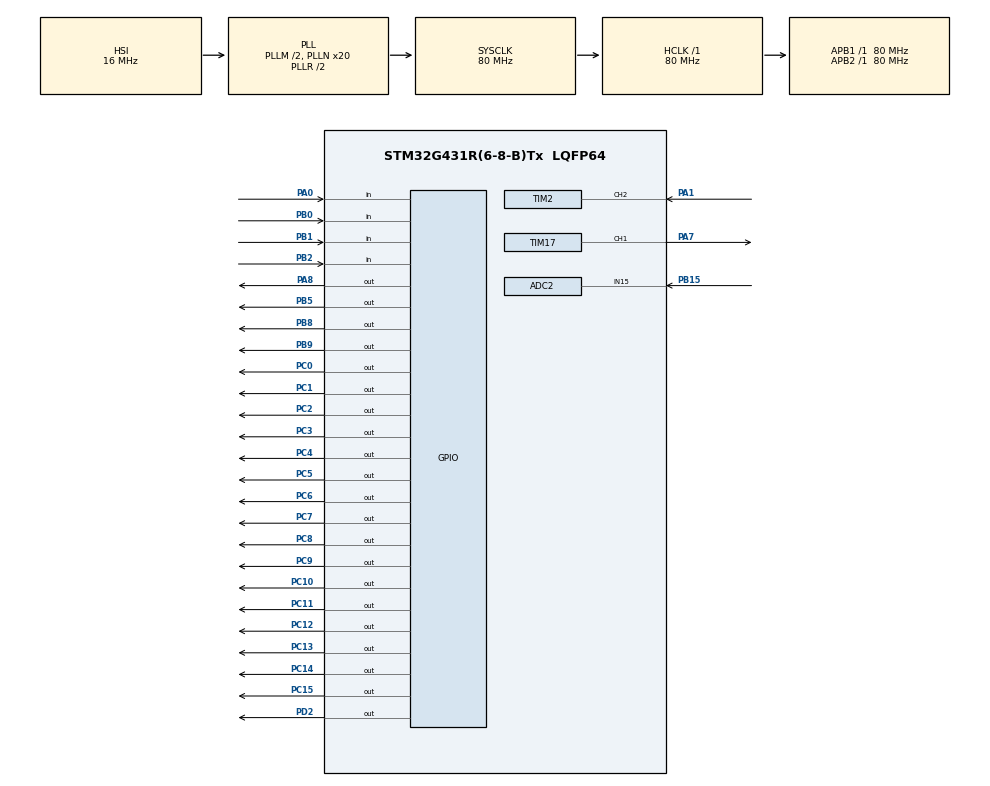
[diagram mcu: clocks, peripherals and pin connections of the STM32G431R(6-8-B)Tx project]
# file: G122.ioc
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ADC2.Channel-0\#ChannelRegularConversion=ADC_CHANNEL_15
ADC2.NbrOfConversionFlag=1
ADC2.OffsetNumber-0\#ChannelRegularConversion=ADC_OFFSET_NONE
ADC2.Rank-0\#ChannelRegularConversion=1
ADC2.SamplingTime-0\#ChannelRegularConversion=ADC_SAMPLETIME_640CYCLES_5
Mcu.Family=STM32G4
Mcu.Name=STM32G431R(6-8-B)Tx
Mcu.Package=LQFP64
NVIC.PriorityGroup=NVIC_PRIORITYGROUP_4
NVIC.TIM2_IRQn=true\:0\:0\:false\:false\:true\:true\:true\:true
PA0.Signal=GPIO_Input
PA1.Signal=S_TIM2_CH2
PA7.Signal=S_TIM17_CH1
PA8.Signal=GPIO_Output
PB0.Signal=GPIO_Input
PB1.Signal=GPIO_Input
PB15.Mode=IN15-Single-Ended
PB15.Signal=ADC2_IN15
PB2.Signal=GPIO_Input
PB5.Signal=GPIO_Output
PB8-BOOT0.Signal=GPIO_Output
PB9.Signal=GPIO_Output
PC0.Signal=GPIO_Output
PC1.Signal=GPIO_Output
PC10.Signal=GPIO_Output
PC11.Signal=GPIO_Output
PC12.Signal=GPIO_Output
PC13.Signal=GPIO_Output
PC14-OSC32_IN.Signal=GPIO_Output
PC15-OSC32_OUT.Signal=GPIO_Output
PC2.Signal=GPIO_Output
PC3.Signal=GPIO_Output
PC4.Signal=GPIO_Output
PC5.Signal=GPIO_Output
PC6.Signal=GPIO_Output
PC7.Signal=GPIO_Output
PC8.Signal=GPIO_Output
PC9.Signal=GPIO_Output
PD2.Signal=GPIO_Output
PF0-OSC_IN.Mode=HSE-External-Oscillator
PF0-OSC_IN.Signal=RCC_OSC_IN
PF1-OSC_OUT.Mode=HSE-External-Oscillator
PF1-OSC_OUT.Signal=RCC_OSC_OUT
ProjectManager.HeapSize=0x200
ProjectManager.StackSize=0x400
ProjectManager.TargetToolchain=MDK-ARM V5
RCC.ADC12Freq_Value=80000000
RCC.AHBFreq_Value=80000000
RCC.APB1Freq_Value=80000000
RCC.APB1TimFreq_Value=80000000
RCC.APB2Freq_Value=80000000
RCC.APB2TimFreq_Value=80000000
RCC.CortexFreq_Value=80000000
RCC.EXTERNAL_CLOCK_VALUE=12288000
RCC.HCLKFreq_Value=80000000
RCC.HSE_VALUE=24000000
RCC.HSI48_VALUE=48000000
RCC.HSI_VALUE=16000000
RCC.LSE_VALUE=32768
RCC.PLLM=RCC_PLLM_DIV2
RCC.PLLN=20
RCC.SYSCLKFreq_VALUE=80000000
RCC.SYSCLKSource=RCC_SYSCLKSOURCE_PLLCLK
RCC.USBFreq_Value=80000000
RCC.VCOOutputFreq_Value=160000000
SH.S_TIM17_CH1.0=TIM17_CH1,PWM Generation1 CH1
SH.S_TIM2_CH2.0=TIM2_CH2,Input_Capture2_from_TI2
TIM17.Channel=TIM_CHANNEL_1
TIM17.PeriodNoDither=999
TIM17.Prescaler=79
TIM17.PulseNoDither_1=250
TIM2.Channel-Input_Capture2_from_TI2=TIM_CHANNEL_2
TIM2.PeriodNoDither=0xffffffff
TIM2.Prescaler=79
VP_SYS_VS_DBSignals.Mode=DisableDeadBatterySignals
VP_TIM17_VS_ClockSourceINT.Mode=Enable_Timer
board=custom

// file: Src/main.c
/* USER CODE BEGIN Header */
/**
  ******************************************************************************
  * @file           : main.c
  * @brief          : Main program body
  ******************************************************************************
  * @attention
  *
  * <h2><center>&copy; Copyright (c) 2021 STMicroelectronics.
  * All rights reserved.</center></h2>
  *
  * This software component is licensed by ST under BSD 3-Clause license,
  * the "License"; You may not use this file except in compliance with the
  * License. You may obtain a copy of the License at:
  *                        opensource.org/licenses/BSD-3-Clause
  *
  ******************************************************************************
  */
/* USER CODE END Header */

#include "main.h"
#include "adc.h"
#include "tim.h"
#include "gpio.h"

/* USER CODE BEGIN Includes */
#include "led.h"
#include "key.h"
#include "stdio.h"

/* USER CODE END Includes */

void SystemClock_Config(void);

/* USER CODE BEGIN 0 */
#define Display_Data 0
#define Display_Para 1

u8 Display_Mode = 0;

//1

//2
u8 R = 4;

//led
_Bool led_flag = 1; //0 ���ã� 1����

//KEY
uint32_t keyTick = 0;
void Key_Process(void)
{
	if(uwTick - keyTick < 20) return;
	keyTick = uwTick;

	Key_Read();

	if(Trg & 0x01)
	{
		LCD_Clear(Black);
		Display_Mode = (Display_Mode + 1) % 2;
	}

	if(Trg & 0x02)
	{
		if(Display_Mode == Display_Para)
		{
			R+=2;
			if(R == 12)
				R = 10;
		}
	}

	if(Trg & 0x04)
	{
		if(Display_Mode == Display_Para)
		{

				R-=2;
			if(R == 0)
				R = 2;
		}
	}

	if(Trg & 0x08)
	{
		led_flag = !led_flag;
	}

}

//ADC

u32 adc_val;
double r37_v;

void ADC_Process(void)
{
	HAL_ADC_Start(&hadc2);
	adc_val = HAL_ADC_GetValue(&hadc2);
	r37_v = adc_val /4095.0*3.3;
}

//PA1
u32 tim_cnt;
double PA1_F;
void HAL_TIM_IC_CaptureCallback(TIM_HandleTypeDef *htim)
{
	if(htim == &htim2)
	{
		HAL_TIM_IC_Start_IT(&htim2,TIM_CHANNEL_2);

		tim_cnt = __HAL_TIM_GetCounter(&htim2);

		PA1_F = 1e6/tim_cnt;

		__HAL_TIM_SetCounter(&htim2,0);
	}

}

//PWM

void PWM_Process(void)
{

	TIM17->ARR = (1e6/(PA1_F/R) - 1);

	TIM17->CCR1 = (TIM17->ARR + 1) * (r37_v / 3.3);

}

//LED
u8 led_ctrl = 0x00;

void Led_Process(void)
{
	if(led_flag == 1)
	{
		if(Display_Mode == Display_Data)
			led_ctrl |= 0x01;
		else
			led_ctrl &= ~0x01;

		if(Display_Mode == Display_Para)
			led_ctrl |= 0x02;
		else
			led_ctrl &= ~0x02;

		if(r37_v >= 1.0 && r37_v < 3)
			led_ctrl |= 0x04;
		else
			led_ctrl &= ~0x04;

		if(PA1_F >= 1000 && PA1_F < 5000)
			led_ctrl |= 0x08;
		else
			led_ctrl &=~0x08;
	}
	else
		led_ctrl = 0x00;

	Led_Control(led_ctrl);

}

//LCD
uint32_t lcdTick = 0;
void LCD_Process(void)
{
	if(uwTick - lcdTick < 100) return;
	lcdTick = uwTick;

	u8 display_buf[30];

	if(Display_Mode == Display_Data)
	{
		sprintf((char *)display_buf,"       Data ");
		LCD_DisplayStringLine(Line1,display_buf);

		sprintf((char *)display_buf,"   FRQ:%.0fHZ   ",PA1_F);
		LCD_DisplayStringLine(Line3,display_buf);

		sprintf((char *)display_buf,"   R37:%4.2fV",r37_v);
		LCD_DisplayStringLine(Line5,display_buf);
	}

	if(Display_Mode == Display_Para)
	{
		sprintf((char *)display_buf,"       Para ");
		LCD_DisplayStringLine(Line1,display_buf);

		sprintf((char *)display_buf,"      R:%d ",R);
		LCD_DisplayStringLine(Line3,display_buf);

	}

}

/* USER CODE END 0 */

int main(void)
{

  /* MCU Configuration--------------------------------------------------------*/

  /* Reset of all peripherals, Initializes the Flash interface and the Systick. */
  HAL_Init();

  /* Configure the system clock */
  SystemClock_Config();

  /* Initialize all configured peripherals */
  MX_GPIO_Init();
  MX_ADC2_Init();
  MX_TIM2_Init();
  MX_TIM17_Init();
  /* USER CODE BEGIN 2 */

    LCD_Init();

		//PWM_IC
		HAL_TIM_IC_Start_IT(&htim2,TIM_CHANNEL_2);

		//PWM
		HAL_TIM_PWM_Start(&htim17,TIM_CHANNEL_1);

  /* USER CODE END 2 */

  /* Infinite loop */
  /* USER CODE BEGIN WHILE */

    LCD_Clear(Black);
    LCD_SetBackColor(Black);
    LCD_SetTextColor(White);

//    LCD_DrawLine(120, 0, 320, Horizontal);
//    LCD_DrawLine(0, 160, 240, Vertical);
//    HAL_Delay(1000);
//    LCD_Clear(Blue);

//    LCD_DrawRect(70, 210, 100, 100);
//    HAL_Delay(1000);
//    LCD_Clear(Blue);

//    LCD_DrawCircle(120, 160, 50);
//    HAL_Delay(1000);

//    LCD_Clear(Blue);
//    LCD_DisplayStringLine(Line4, (unsigned char *)"    Hello,world.   ");
//    HAL_Delay(1000);

//    LCD_SetBackColor(White);
//    LCD_DisplayStringLine(Line0, (unsigned char *)"                    ");
//    LCD_SetBackColor(Black);
//    LCD_DisplayStringLine(Line1, (unsigned char *)"                    ");
//    LCD_SetBackColor(Grey);
//    LCD_DisplayStringLine(Line2, (unsigned char *)"                    ");
//    LCD_SetBackColor(Blue);
//    LCD_DisplayStringLine(Line3, (unsigned char *)"                    ");
//    LCD_SetBackColor(Blue2);
//    LCD_DisplayStringLine(Line4, (unsigned char *)"                    ");
//    LCD_SetBackColor(Red);
//    LCD_DisplayStringLine(Line5, (unsigned char *)"                    ");
//    LCD_SetBackColor(Magenta);
//    LCD_DisplayStringLine(Line6, (unsigned char *)"                    ");
//    LCD_SetBackColor(Green);
//    LCD_DisplayStringLine(Line7, (unsigned char *)"                    ");
//    LCD_SetBackColor(Cyan);
//    LCD_DisplayStringLine(Line8, (unsigned char *)"                    ");
//    LCD_SetBackColor(Yellow);
//    LCD_DisplayStringLine(Line9, (unsigned char *)"                    ");

		Led_Control(0x00);
    while (1)
    {
    /* USER CODE END WHILE */

    /* USER CODE BEGIN 3 */
			Key_Process();
			ADC_Process();
			PWM_Process();
			LCD_Process();
			Led_Process();
    }
  /* USER CODE END 3 */
}

void SystemClock_Config(void)
{
  RCC_OscInitTypeDef RCC_OscInitStruct = {0};
  RCC_ClkInitTypeDef RCC_ClkInitStruct = {0};
  RCC_PeriphCLKInitTypeDef PeriphClkInit = {0};

  /** Configure the main internal regulator output voltage
  */
  HAL_PWREx_ControlVoltageScaling(PWR_REGULATOR_VOLTAGE_SCALE1);
  /** Initializes the CPU, AHB and APB busses clocks
  */
  RCC_OscInitStruct.OscillatorType = RCC_OSCILLATORTYPE_HSI;
  RCC_OscInitStruct.HSIState = RCC_HSI_ON;
  RCC_OscInitStruct.HSICalibrationValue = RCC_HSICALIBRATION_DEFAULT;
  RCC_OscInitStruct.PLL.PLLState = RCC_PLL_ON;
  RCC_OscInitStruct.PLL.PLLSource = RCC_PLLSOURCE_HSI;
  RCC_OscInitStruct.PLL.PLLM = RCC_PLLM_DIV2;
  RCC_OscInitStruct.PLL.PLLN = 20;
  RCC_OscInitStruct.PLL.PLLP = RCC_PLLP_DIV2;
  RCC_OscInitStruct.PLL.PLLQ = RCC_PLLQ_DIV2;
  RCC_OscInitStruct.PLL.PLLR = RCC_PLLR_DIV2;
  if (HAL_RCC_OscConfig(&RCC_OscInitStruct) != HAL_OK)
  {
    Error_Handler();
  }
  /** Initializes the CPU, AHB and APB busses clocks
  */
  RCC_ClkInitStruct.ClockType = RCC_CLOCKTYPE_HCLK|RCC_CLOCKTYPE_SYSCLK
                              |RCC_CLOCKTYPE_PCLK1|RCC_CLOCKTYPE_PCLK2;
  RCC_ClkInitStruct.SYSCLKSource = RCC_SYSCLKSOURCE_PLLCLK;
  RCC_ClkInitStruct.AHBCLKDivider = RCC_SYSCLK_DIV1;
  RCC_ClkInitStruct.APB1CLKDivider = RCC_HCLK_DIV1;
  RCC_ClkInitStruct.APB2CLKDivider = RCC_HCLK_DIV1;

  if (HAL_RCC_ClockConfig(&RCC_ClkInitStruct, FLASH_LATENCY_3) != HAL_OK)
  {
    Error_Handler();
  }
  /** Initializes the peripherals clocks
  */
  PeriphClkInit.PeriphClockSelection = RCC_PERIPHCLK_ADC12;
  PeriphClkInit.Adc12ClockSelection = RCC_ADC12CLKSOURCE_SYSCLK;
  if (HAL_RCCEx_PeriphCLKConfig(&PeriphClkInit) != HAL_OK)
  {
    Error_Handler();
  }
}

void Error_Handler(void)
{
}

/************************ (C) COPYRIGHT STMicroelectronics *****END OF FILE****/
